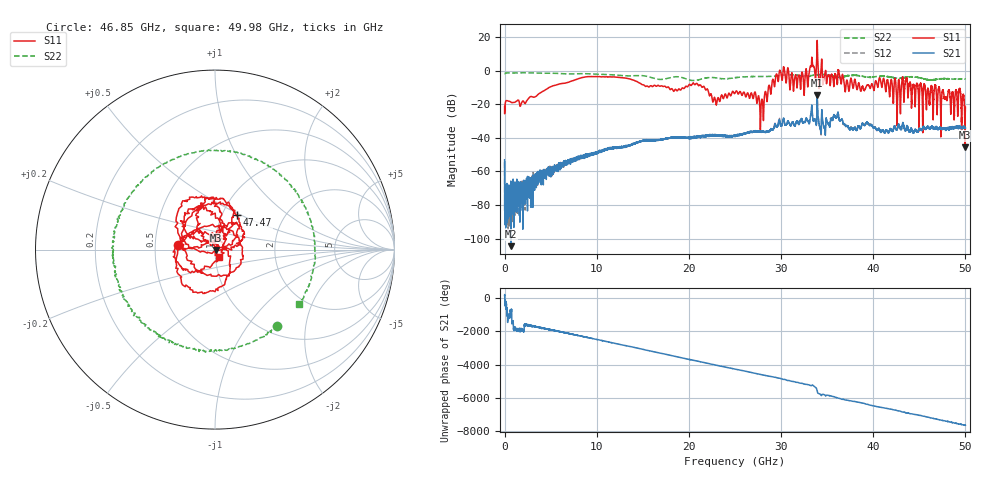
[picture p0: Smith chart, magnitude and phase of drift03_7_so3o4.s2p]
!Created with skrf (http://scikit-rf.org).
# Hz S RI R 50.0
!freq ReS11 ImS11 ReS21 ImS21 ReS12 ImS12 ReS22 ImS22
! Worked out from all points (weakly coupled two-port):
!   10001 points, 300 kHz to 50 GHz, reference 50 ohm
!   highest |S21| = -14.84 dB at 33.92 GHz (marker M1); lowest = -104.4 dB at 705.3 MHz (marker M2)
!   lowest |S11| = -45.6 dB at 49.95 GHz (marker M3), VSWR 1.01, Z = 50.5 - j0.186 ohm
!   |S11| at or under -10 dB: start of sweep to 4.85 GHz; 21.69 GHz to 28.62 GHz (6.932 GHz wide, 27.6 % of centre); 47.16 GHz to end of sweep (the widest 3 of 42)
!   |S22| runs from -5.9 to -1.3 dB; largest |S21 - S12| = 0.02
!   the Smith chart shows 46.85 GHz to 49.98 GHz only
!   S11 on the Smith chart (normalised r, x): 46.85 GHz: 0.66, +0.03; 47.47 GHz: 1.18, +0.48; 49.98 GHz: 1.04, -0.09
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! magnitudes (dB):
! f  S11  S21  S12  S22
! 300 kHz  -21.4  -53.0  -54.6  -2.1
! 255.3 MHz  -17.9  -78.2  -67.8  -1.4
! 705.3 MHz  -18.8  -104.4  -74.9  -1.5
! 8.335 GHz  -4.3  -52.0  -51.8  -1.9
! 16.67 GHz  -8.8  -41.3  -41.3  -5.2
! 21.01 GHz  -8.8  -39.3  -39.1  -5.5
! 22.81 GHz  -16.1  -38.6  -38.9  -4.3
! 25 GHz  -13.4  -38.8  -38.5  -4.2
! 27.02 GHz  -15.8  -36.4  -36.4  -3.5
! 27.91 GHz  -17.1  -36.4  -36.4  -3.5
! 29.69 GHz  -6.6  -32.1  -31.5  -3.1
! 32.32 GHz  -1.5  -30.4  -30.7  -3.3
! 33.34 GHz  7.9  -20.6  -20.8  -2.9
! 33.92 GHz  17.9  -14.8  -15.2  -2.5
! 37.16 GHz  -5.8  -33.2  -33.1  -3.1
! 41.67 GHz  -8.9  -37.1  -36.7  -3.7
! 46.85 GHz  -13.8  -33.8  -34.0  -5.2
! 47.47 GHz  -12.8  -34.5  -34.6  -4.8
! 49.21 GHz  -20.0  -34.1  -34.3  -5.1
! 49.95 GHz  -45.6  -34.0  -34.0  -5.0
! 49.98 GHz  -26.6  -34.1  -34.0  -5.1
! 50 GHz  -21.7  -34.3  -34.0  -5.0
